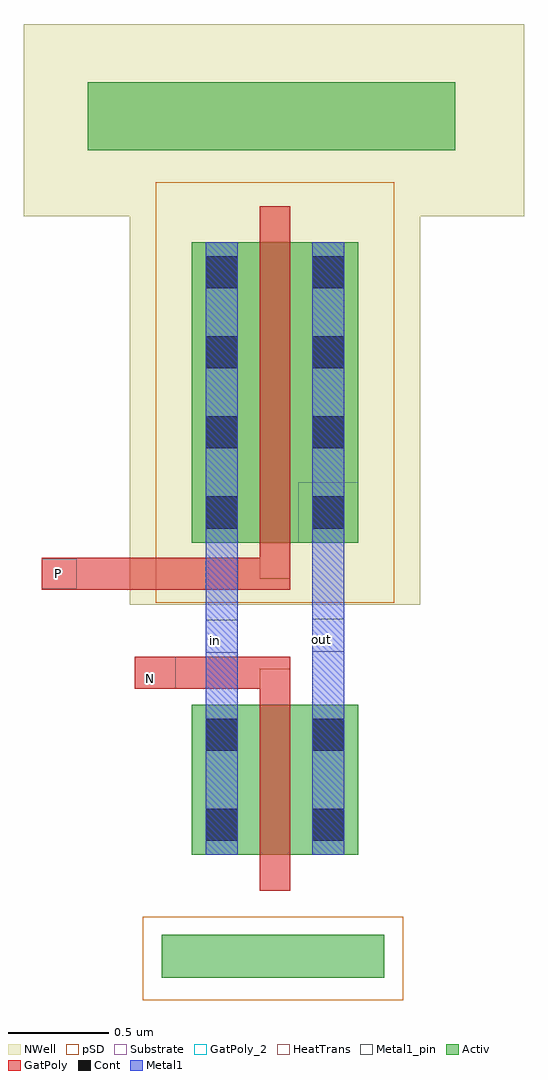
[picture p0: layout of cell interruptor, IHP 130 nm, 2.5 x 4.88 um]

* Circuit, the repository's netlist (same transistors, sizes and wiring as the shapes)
* Extracted by KLayout with SG13G2 LVS runset on : 08/04/2026 19:33

.SUBCKT interruptor
M$1 \$2 \$6 \$3 \$1 sg13_lv_nmos L=0.15u W=0.75u AS=0.255p AD=0.255p PS=2.18u
+ PD=2.18u
M$2 \$2 \$5 \$3 \$4 sg13_lv_pmos L=0.15u W=1.5u AS=0.51p AD=0.51p PS=3.68u
+ PD=3.68u
.ENDS interruptor

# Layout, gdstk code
import gdstk
lib = gdstk.Library(unit=1e-6, precision=5e-09)
def R(c, l, rs):  # rectangles x0, y0, x1, y1
    for r in rs: c.add(gdstk.rectangle(r[:2], r[2:], *l))
def A(c, l, x, y, w, h, nx, ny, dx, dy):  # array of equal rectangles
    R(c, l, [(x+i*dx, y+j*dy, x+i*dx+w, y+j*dy+h) for i in range(nx) for j in range(ny)])
Activ = (1, 0)
GatPoly = (5, 0)
GatPoly_2 = (5, 2)
Cont = (6, 0)
Metal1 = (8, 0)
Metal1_pin = (8, 2)
pSD = (14, 0)
NWell = (31, 0)
Substrate = (40, 0)
HeatTrans = (51, 0)

nmos = lib.new_cell('nmos')
R(nmos, Activ, [(0,0,0.3,0.3), (0,0,0.83,0.75), (0.53,0,0.83,0.3)])
R(nmos, GatPoly, [(0.34,-0.18,0.49,0.93)])
R(nmos, GatPoly_2, [(0.34,-0.18,0.49,0.93)])
R(nmos, Cont, [(0.07,0.07,0.23,0.23), (0.6,0.07,0.76,0.23), (0.07,0.52,0.23,0.68), (0.6,0.52,0.76,0.68)])
R(nmos, Metal1, [(0.07,0,0.23,0.75), (0.6,0,0.76,0.75)])
R(nmos, Metal1_pin, [(0.07,0,0.23,0.75), (0.6,0,0.76,0.75)])
R(nmos, HeatTrans, [(0.34,-0.18,0.49,0.93)])
nmos.add(gdstk.Label('nmos', (0.415,0.375), layer=63, texttype=0))
nmos.add(gdstk.Label('nmos', (0.415,0.375), layer=51, texttype=0))

pmos_1 = lib.new_cell('pmos$1')
R(pmos_1, Activ, [(0,0,0.3,0.3), (0,0,0.83,1.5), (0.53,0,0.83,0.3)])
R(pmos_1, GatPoly, [(0.34,-0.18,0.49,1.68), (0.34,-0.18,0.49,1.68)])
A(pmos_1, Cont, 0.07, 0.07, 0.16, 0.16, 1, 4, 0, 0.4)
A(pmos_1, Cont, 0.6, 0.07, 0.16, 0.16, 1, 4, 0, 0.4)
R(pmos_1, Metal1, [(0.07,0,0.23,1.5), (0.07,0,0.23,1.5), (0.6,0,0.76,1.5), (0.6,0,0.76,1.5)])
R(pmos_1, pSD, [(-0.18,-0.3,1.01,1.8)])
R(pmos_1, NWell, [(-0.31,-0.31,1.14,1.81)])
R(pmos_1, Substrate, [(0.53,0,0.83,0.3)])
R(pmos_1, HeatTrans, [(0.34,-0.18,0.49,1.68)])
pmos_1.add(gdstk.Label('pmos', (0.415,0.75), layer=63, texttype=0))
pmos_1.add(gdstk.Label('pmos', (0.415,0.75), layer=51, texttype=0))

interruptor = lib.new_cell('interruptor')
R(interruptor, Activ, [(3.025,1.49,4.135,1.705), (2.655,5.625,4.49,5.965)])
R(interruptor, GatPoly, [(2.89,2.935,3.665,3.095), (2.425,3.43,3.665,3.59)])
R(interruptor, GatPoly_2, [(2.89,2.935,3.095,3.095), (2.425,3.435,2.6,3.585)])
R(interruptor, Metal1, [(3.775,2.66,3.935,3.885), (3.245,2.735,3.405,4.385)])
R(interruptor, Metal1_pin, [(3.245,3.115,3.405,3.28), (3.775,3.12,3.935,3.285)])
R(interruptor, pSD, [(2.93,1.38,4.23,1.795)])
R(interruptor, NWell, [(2.335,5.295,4.835,6.255)])
interruptor.add(gdstk.Reference(nmos, (3.175,2.105)))
interruptor.add(gdstk.Reference(pmos_1, (3.175,3.665)))
interruptor.add(gdstk.Label('out', (3.82,3.18), layer=8, texttype=2))
interruptor.add(gdstk.Label('in', (3.295,3.175), layer=8, texttype=2))
interruptor.add(gdstk.Label('N', (2.97,2.985), layer=5, texttype=2))
interruptor.add(gdstk.Label('P', (2.51,3.51), layer=5, texttype=2))

lib.write_gds('interruptor.gds')
